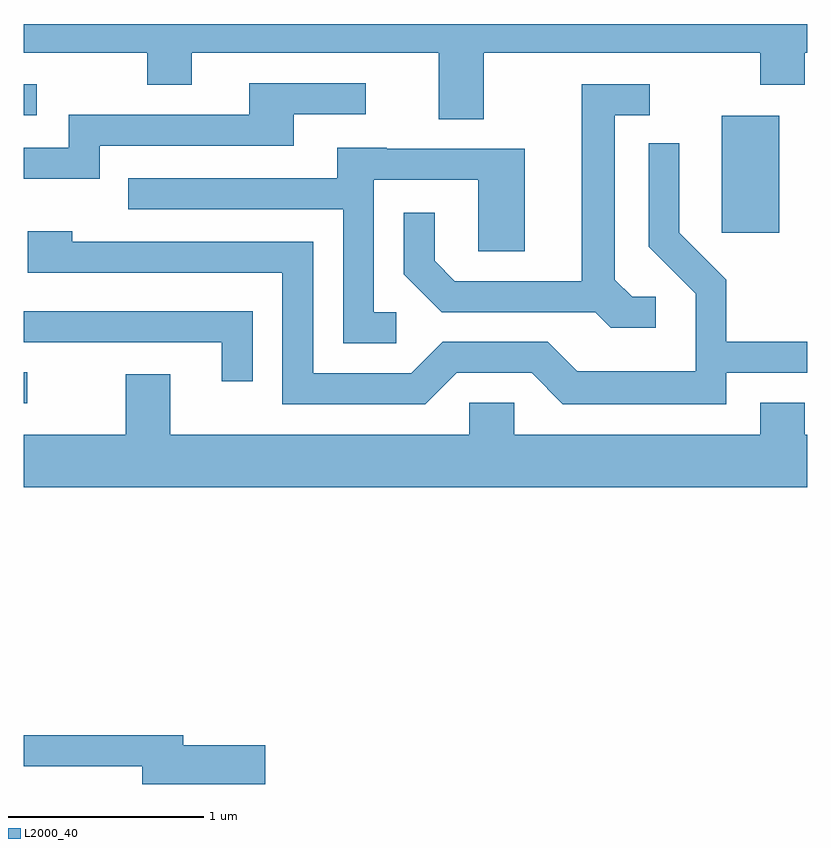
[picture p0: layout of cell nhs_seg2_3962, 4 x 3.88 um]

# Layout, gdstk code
import gdstk
lib = gdstk.Library(unit=1e-6, precision=1e-09)
def R(c, l, rs):  # rectangles x0, y0, x1, y1
    for r in rs: c.add(gdstk.rectangle(r[:2], r[2:], *l))
def P(c, l, *ps):  # polygons
    for p in ps: c.add(gdstk.Polygon(p, *l))
L2000_40 = (2000, 40)

nhs_seg2_3962 = lib.new_cell('nhs_seg2_3962')
R(nhs_seg2_3962, L2000_40, [(301.611,1039.866,301.628,1040.024), (305.176,1040.736,305.469,1041.334), (301.611,1041.336,301.678,1041.494)])
P(nhs_seg2_3962, L2000_40, [(303.959,1041.656),(305.371,1041.656),(305.371,1041.491),(305.599,1041.491),(305.599,1041.656),(305.611,1041.656),(305.611,1041.802),(301.611,1041.802),(301.611,1041.656),(302.241,1041.656),(302.241,1041.491),(302.469,1041.491),(302.469,1041.656),(303.731,1041.656),(303.731,1041.316),(303.959,1041.316)],
  [(301.999,1041.181),(302.989,1041.181),(302.989,1041.341),(303.358,1041.341),(303.358,1041.499),(302.761,1041.499),(302.761,1041.339),(301.841,1041.339),(301.841,1041.169),(301.611,1041.169),(301.611,1041.011),(301.999,1041.011)],
  [(304.838,1040.409),(304.717,1040.409),(304.629,1040.497),(304.629,1041.336),(304.808,1041.336),(304.808,1041.494),(304.461,1041.494),(304.461,1040.489),(303.812,1040.489),(303.709,1040.592),(303.709,1040.838),(303.551,1040.838),(303.551,1040.524),(303.744,1040.331),(304.529,1040.331),(304.609,1040.251),(304.838,1040.251)],
  [(303.822,1040.021),(304.204,1040.021),(304.364,1039.861),(305.199,1039.861),(305.199,1040.021),(305.611,1040.021),(305.611,1040.179),(305.199,1040.179),(305.199,1040.497),(304.959,1040.737),(304.959,1041.193),(304.801,1041.193),(304.801,1040.664),(305.041,1040.424),(305.041,1040.029),(304.437,1040.029),(304.287,1040.179),(303.749,1040.179),(303.589,1040.019),(303.089,1040.019),(303.089,1040.689),(301.859,1040.689),(301.859,1040.744),(301.631,1040.744),(301.631,1040.531),(302.931,1040.531),(302.931,1039.861),(303.662,1039.861)],
  [(303.513,1040.329),(303.399,1040.329),(303.399,1041.006),(303.931,1041.006),(303.931,1040.641),(304.169,1040.641),(304.169,1041.164),(303.465,1041.164),(303.465,1041.169),(303.211,1041.169),(303.211,1041.014),(302.143,1041.014),(302.143,1040.856),(303.241,1040.856),(303.241,1040.171),(303.513,1040.171)],
  [(302.779,1040.334),(301.611,1040.334),(301.611,1040.176),(302.621,1040.176),(302.621,1039.978),(302.779,1039.978)],
  [(305.611,1039.704),(305.599,1039.704),(305.599,1039.869),(305.371,1039.869),(305.371,1039.704),(304.114,1039.704),(304.114,1039.869),(303.886,1039.869),(303.886,1039.704),(302.359,1039.704),(302.359,1040.014),(302.131,1040.014),(302.131,1039.704),(301.611,1039.704),(301.611,1039.436),(305.611,1039.436)],
  [(302.844,1038.119),(302.424,1038.119),(302.424,1038.169),(301.611,1038.169),(301.611,1038.011),(302.216,1038.011),(302.216,1037.921),(302.844,1037.921)])

lib.write_gds('nhs_seg2_3962.gds')
